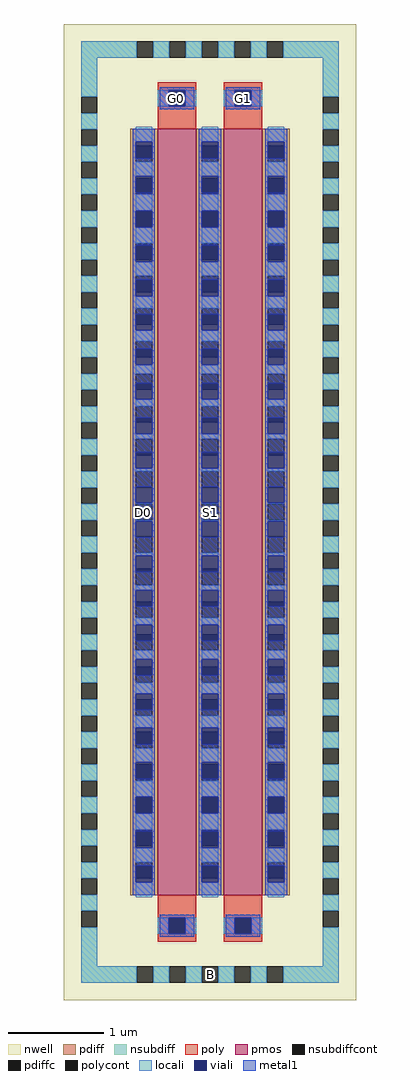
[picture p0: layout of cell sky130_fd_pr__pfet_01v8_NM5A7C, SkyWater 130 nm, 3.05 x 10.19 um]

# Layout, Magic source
magic
tech sky130A
magscale 1 2
<< nwell >>
rect -305 -1019 305 1019
<< pmos >>
rect -109 -800 -29 800
rect 29 -800 109 800
<< pdiff >>
rect -167 765 -109 800
rect -167 731 -155 765
rect -121 731 -109 765
rect -167 697 -109 731
rect -167 663 -155 697
rect -121 663 -109 697
rect -167 629 -109 663
rect -167 595 -155 629
rect -121 595 -109 629
rect -167 561 -109 595
rect -167 527 -155 561
rect -121 527 -109 561
rect -167 493 -109 527
rect -167 459 -155 493
rect -121 459 -109 493
rect -167 425 -109 459
rect -167 391 -155 425
rect -121 391 -109 425
rect -167 357 -109 391
rect -167 323 -155 357
rect -121 323 -109 357
rect -167 289 -109 323
rect -167 255 -155 289
rect -121 255 -109 289
rect -167 221 -109 255
rect -167 187 -155 221
rect -121 187 -109 221
rect -167 153 -109 187
rect -167 119 -155 153
rect -121 119 -109 153
rect -167 85 -109 119
rect -167 51 -155 85
rect -121 51 -109 85
rect -167 17 -109 51
rect -167 -17 -155 17
rect -121 -17 -109 17
rect -167 -51 -109 -17
rect -167 -85 -155 -51
rect -121 -85 -109 -51
rect -167 -119 -109 -85
rect -167 -153 -155 -119
rect -121 -153 -109 -119
rect -167 -187 -109 -153
rect -167 -221 -155 -187
rect -121 -221 -109 -187
rect -167 -255 -109 -221
rect -167 -289 -155 -255
rect -121 -289 -109 -255
rect -167 -323 -109 -289
rect -167 -357 -155 -323
rect -121 -357 -109 -323
rect -167 -391 -109 -357
rect -167 -425 -155 -391
rect -121 -425 -109 -391
rect -167 -459 -109 -425
rect -167 -493 -155 -459
rect -121 -493 -109 -459
rect -167 -527 -109 -493
rect -167 -561 -155 -527
rect -121 -561 -109 -527
rect -167 -595 -109 -561
rect -167 -629 -155 -595
rect -121 -629 -109 -595
rect -167 -663 -109 -629
rect -167 -697 -155 -663
rect -121 -697 -109 -663
rect -167 -731 -109 -697
rect -167 -765 -155 -731
rect -121 -765 -109 -731
rect -167 -800 -109 -765
rect -29 765 29 800
rect -29 731 -17 765
rect 17 731 29 765
rect -29 697 29 731
rect -29 663 -17 697
rect 17 663 29 697
rect -29 629 29 663
rect -29 595 -17 629
rect 17 595 29 629
rect -29 561 29 595
rect -29 527 -17 561
rect 17 527 29 561
rect -29 493 29 527
rect -29 459 -17 493
rect 17 459 29 493
rect -29 425 29 459
rect -29 391 -17 425
rect 17 391 29 425
rect -29 357 29 391
rect -29 323 -17 357
rect 17 323 29 357
rect -29 289 29 323
rect -29 255 -17 289
rect 17 255 29 289
rect -29 221 29 255
rect -29 187 -17 221
rect 17 187 29 221
rect -29 153 29 187
rect -29 119 -17 153
rect 17 119 29 153
rect -29 85 29 119
rect -29 51 -17 85
rect 17 51 29 85
rect -29 17 29 51
rect -29 -17 -17 17
rect 17 -17 29 17
rect -29 -51 29 -17
rect -29 -85 -17 -51
rect 17 -85 29 -51
rect -29 -119 29 -85
rect -29 -153 -17 -119
rect 17 -153 29 -119
rect -29 -187 29 -153
rect -29 -221 -17 -187
rect 17 -221 29 -187
rect -29 -255 29 -221
rect -29 -289 -17 -255
rect 17 -289 29 -255
rect -29 -323 29 -289
rect -29 -357 -17 -323
rect 17 -357 29 -323
rect -29 -391 29 -357
rect -29 -425 -17 -391
rect 17 -425 29 -391
rect -29 -459 29 -425
rect -29 -493 -17 -459
rect 17 -493 29 -459
rect -29 -527 29 -493
rect -29 -561 -17 -527
rect 17 -561 29 -527
rect -29 -595 29 -561
rect -29 -629 -17 -595
rect 17 -629 29 -595
rect -29 -663 29 -629
rect -29 -697 -17 -663
rect 17 -697 29 -663
rect -29 -731 29 -697
rect -29 -765 -17 -731
rect 17 -765 29 -731
rect -29 -800 29 -765
rect 109 765 167 800
rect 109 731 121 765
rect 155 731 167 765
rect 109 697 167 731
rect 109 663 121 697
rect 155 663 167 697
rect 109 629 167 663
rect 109 595 121 629
rect 155 595 167 629
rect 109 561 167 595
rect 109 527 121 561
rect 155 527 167 561
rect 109 493 167 527
rect 109 459 121 493
rect 155 459 167 493
rect 109 425 167 459
rect 109 391 121 425
rect 155 391 167 425
rect 109 357 167 391
rect 109 323 121 357
rect 155 323 167 357
rect 109 289 167 323
rect 109 255 121 289
rect 155 255 167 289
rect 109 221 167 255
rect 109 187 121 221
rect 155 187 167 221
rect 109 153 167 187
rect 109 119 121 153
rect 155 119 167 153
rect 109 85 167 119
rect 109 51 121 85
rect 155 51 167 85
rect 109 17 167 51
rect 109 -17 121 17
rect 155 -17 167 17
rect 109 -51 167 -17
rect 109 -85 121 -51
rect 155 -85 167 -51
rect 109 -119 167 -85
rect 109 -153 121 -119
rect 155 -153 167 -119
rect 109 -187 167 -153
rect 109 -221 121 -187
rect 155 -221 167 -187
rect 109 -255 167 -221
rect 109 -289 121 -255
rect 155 -289 167 -255
rect 109 -323 167 -289
rect 109 -357 121 -323
rect 155 -357 167 -323
rect 109 -391 167 -357
rect 109 -425 121 -391
rect 155 -425 167 -391
rect 109 -459 167 -425
rect 109 -493 121 -459
rect 155 -493 167 -459
rect 109 -527 167 -493
rect 109 -561 121 -527
rect 155 -561 167 -527
rect 109 -595 167 -561
rect 109 -629 121 -595
rect 155 -629 167 -595
rect 109 -663 167 -629
rect 109 -697 121 -663
rect 155 -697 167 -663
rect 109 -731 167 -697
rect 109 -765 121 -731
rect 155 -765 167 -731
rect 109 -800 167 -765
<< pdiffc >>
rect -155 731 -121 765
rect -155 663 -121 697
rect -155 595 -121 629
rect -155 527 -121 561
rect -155 459 -121 493
rect -155 391 -121 425
rect -155 323 -121 357
rect -155 255 -121 289
rect -155 187 -121 221
rect -155 119 -121 153
rect -155 51 -121 85
rect -155 -17 -121 17
rect -155 -85 -121 -51
rect -155 -153 -121 -119
rect -155 -221 -121 -187
rect -155 -289 -121 -255
rect -155 -357 -121 -323
rect -155 -425 -121 -391
rect -155 -493 -121 -459
rect -155 -561 -121 -527
rect -155 -629 -121 -595
rect -155 -697 -121 -663
rect -155 -765 -121 -731
rect -17 731 17 765
rect -17 663 17 697
rect -17 595 17 629
rect -17 527 17 561
rect -17 459 17 493
rect -17 391 17 425
rect -17 323 17 357
rect -17 255 17 289
rect -17 187 17 221
rect -17 119 17 153
rect -17 51 17 85
rect -17 -17 17 17
rect -17 -85 17 -51
rect -17 -153 17 -119
rect -17 -221 17 -187
rect -17 -289 17 -255
rect -17 -357 17 -323
rect -17 -425 17 -391
rect -17 -493 17 -459
rect -17 -561 17 -527
rect -17 -629 17 -595
rect -17 -697 17 -663
rect -17 -765 17 -731
rect 121 731 155 765
rect 121 663 155 697
rect 121 595 155 629
rect 121 527 155 561
rect 121 459 155 493
rect 121 391 155 425
rect 121 323 155 357
rect 121 255 155 289
rect 121 187 155 221
rect 121 119 155 153
rect 121 51 155 85
rect 121 -17 155 17
rect 121 -85 155 -51
rect 121 -153 155 -119
rect 121 -221 155 -187
rect 121 -289 155 -255
rect 121 -357 155 -323
rect 121 -425 155 -391
rect 121 -493 155 -459
rect 121 -561 155 -527
rect 121 -629 155 -595
rect 121 -697 155 -663
rect 121 -765 155 -731
<< nsubdiff >>
rect -269 949 -153 983
rect -119 949 -85 983
rect -51 949 -17 983
rect 17 949 51 983
rect 85 949 119 983
rect 153 949 269 983
rect -269 867 -235 949
rect -269 799 -235 833
rect 235 867 269 949
rect -269 731 -235 765
rect -269 663 -235 697
rect -269 595 -235 629
rect -269 527 -235 561
rect -269 459 -235 493
rect -269 391 -235 425
rect -269 323 -235 357
rect -269 255 -235 289
rect -269 187 -235 221
rect -269 119 -235 153
rect -269 51 -235 85
rect -269 -17 -235 17
rect -269 -85 -235 -51
rect -269 -153 -235 -119
rect -269 -221 -235 -187
rect -269 -289 -235 -255
rect -269 -357 -235 -323
rect -269 -425 -235 -391
rect -269 -493 -235 -459
rect -269 -561 -235 -527
rect -269 -629 -235 -595
rect -269 -697 -235 -663
rect -269 -765 -235 -731
rect -269 -833 -235 -799
rect 235 799 269 833
rect 235 731 269 765
rect 235 663 269 697
rect 235 595 269 629
rect 235 527 269 561
rect 235 459 269 493
rect 235 391 269 425
rect 235 323 269 357
rect 235 255 269 289
rect 235 187 269 221
rect 235 119 269 153
rect 235 51 269 85
rect 235 -17 269 17
rect 235 -85 269 -51
rect 235 -153 269 -119
rect 235 -221 269 -187
rect 235 -289 269 -255
rect 235 -357 269 -323
rect 235 -425 269 -391
rect 235 -493 269 -459
rect 235 -561 269 -527
rect 235 -629 269 -595
rect 235 -697 269 -663
rect 235 -765 269 -731
rect -269 -949 -235 -867
rect 235 -833 269 -799
rect 235 -949 269 -867
rect -269 -983 -153 -949
rect -119 -983 -85 -949
rect -51 -983 -17 -949
rect 17 -983 51 -949
rect 85 -983 119 -949
rect 153 -983 269 -949
<< nsubdiffcont >>
rect -153 949 -119 983
rect -85 949 -51 983
rect -17 949 17 983
rect 51 949 85 983
rect 119 949 153 983
rect -269 833 -235 867
rect 235 833 269 867
rect -269 765 -235 799
rect -269 697 -235 731
rect -269 629 -235 663
rect -269 561 -235 595
rect -269 493 -235 527
rect -269 425 -235 459
rect -269 357 -235 391
rect -269 289 -235 323
rect -269 221 -235 255
rect -269 153 -235 187
rect -269 85 -235 119
rect -269 17 -235 51
rect -269 -51 -235 -17
rect -269 -119 -235 -85
rect -269 -187 -235 -153
rect -269 -255 -235 -221
rect -269 -323 -235 -289
rect -269 -391 -235 -357
rect -269 -459 -235 -425
rect -269 -527 -235 -493
rect -269 -595 -235 -561
rect -269 -663 -235 -629
rect -269 -731 -235 -697
rect -269 -799 -235 -765
rect 235 765 269 799
rect 235 697 269 731
rect 235 629 269 663
rect 235 561 269 595
rect 235 493 269 527
rect 235 425 269 459
rect 235 357 269 391
rect 235 289 269 323
rect 235 221 269 255
rect 235 153 269 187
rect 235 85 269 119
rect 235 17 269 51
rect 235 -51 269 -17
rect 235 -119 269 -85
rect 235 -187 269 -153
rect 235 -255 269 -221
rect 235 -323 269 -289
rect 235 -391 269 -357
rect 235 -459 269 -425
rect 235 -527 269 -493
rect 235 -595 269 -561
rect 235 -663 269 -629
rect 235 -731 269 -697
rect 235 -799 269 -765
rect -269 -867 -235 -833
rect 235 -867 269 -833
rect -153 -983 -119 -949
rect -85 -983 -51 -949
rect -17 -983 17 -949
rect 51 -983 85 -949
rect 119 -983 153 -949
<< poly >>
rect -109 881 -29 897
rect -109 847 -86 881
rect -52 847 -29 881
rect -109 800 -29 847
rect 29 881 109 897
rect 29 847 52 881
rect 86 847 109 881
rect 29 800 109 847
rect -109 -847 -29 -800
rect -109 -881 -86 -847
rect -52 -881 -29 -847
rect -109 -897 -29 -881
rect 29 -847 109 -800
rect 29 -881 52 -847
rect 86 -881 109 -847
rect 29 -897 109 -881
<< polycont >>
rect -86 847 -52 881
rect 52 847 86 881
rect -86 -881 -52 -847
rect 52 -881 86 -847
<< locali >>
rect -269 949 -153 983
rect -119 949 -85 983
rect -51 949 -17 983
rect 17 949 51 983
rect 85 949 119 983
rect 153 949 269 983
rect -269 867 -235 949
rect -109 847 -86 881
rect -52 847 -29 881
rect 29 847 52 881
rect 86 847 109 881
rect 235 867 269 949
rect -269 799 -235 833
rect -269 731 -235 765
rect -269 663 -235 697
rect -269 595 -235 629
rect -269 527 -235 561
rect -269 459 -235 493
rect -269 391 -235 425
rect -269 323 -235 357
rect -269 255 -235 289
rect -269 187 -235 221
rect -269 119 -235 153
rect -269 51 -235 85
rect -269 -17 -235 17
rect -269 -85 -235 -51
rect -269 -153 -235 -119
rect -269 -221 -235 -187
rect -269 -289 -235 -255
rect -269 -357 -235 -323
rect -269 -425 -235 -391
rect -269 -493 -235 -459
rect -269 -561 -235 -527
rect -269 -629 -235 -595
rect -269 -697 -235 -663
rect -269 -765 -235 -731
rect -269 -833 -235 -799
rect -155 773 -121 804
rect -155 701 -121 731
rect -155 629 -121 663
rect -155 561 -121 595
rect -155 493 -121 523
rect -155 425 -121 451
rect -155 357 -121 379
rect -155 289 -121 307
rect -155 221 -121 235
rect -155 153 -121 163
rect -155 85 -121 91
rect -155 17 -121 19
rect -155 -19 -121 -17
rect -155 -91 -121 -85
rect -155 -163 -121 -153
rect -155 -235 -121 -221
rect -155 -307 -121 -289
rect -155 -379 -121 -357
rect -155 -451 -121 -425
rect -155 -523 -121 -493
rect -155 -595 -121 -561
rect -155 -663 -121 -629
rect -155 -731 -121 -701
rect -155 -804 -121 -773
rect -17 773 17 804
rect -17 701 17 731
rect -17 629 17 663
rect -17 561 17 595
rect -17 493 17 523
rect -17 425 17 451
rect -17 357 17 379
rect -17 289 17 307
rect -17 221 17 235
rect -17 153 17 163
rect -17 85 17 91
rect -17 17 17 19
rect -17 -19 17 -17
rect -17 -91 17 -85
rect -17 -163 17 -153
rect -17 -235 17 -221
rect -17 -307 17 -289
rect -17 -379 17 -357
rect -17 -451 17 -425
rect -17 -523 17 -493
rect -17 -595 17 -561
rect -17 -663 17 -629
rect -17 -731 17 -701
rect -17 -804 17 -773
rect 121 773 155 804
rect 121 701 155 731
rect 121 629 155 663
rect 121 561 155 595
rect 121 493 155 523
rect 121 425 155 451
rect 121 357 155 379
rect 121 289 155 307
rect 121 221 155 235
rect 121 153 155 163
rect 121 85 155 91
rect 121 17 155 19
rect 121 -19 155 -17
rect 121 -91 155 -85
rect 121 -163 155 -153
rect 121 -235 155 -221
rect 121 -307 155 -289
rect 121 -379 155 -357
rect 121 -451 155 -425
rect 121 -523 155 -493
rect 121 -595 155 -561
rect 121 -663 155 -629
rect 121 -731 155 -701
rect 121 -804 155 -773
rect 235 799 269 833
rect 235 731 269 765
rect 235 663 269 697
rect 235 595 269 629
rect 235 527 269 561
rect 235 459 269 493
rect 235 391 269 425
rect 235 323 269 357
rect 235 255 269 289
rect 235 187 269 221
rect 235 119 269 153
rect 235 51 269 85
rect 235 -17 269 17
rect 235 -85 269 -51
rect 235 -153 269 -119
rect 235 -221 269 -187
rect 235 -289 269 -255
rect 235 -357 269 -323
rect 235 -425 269 -391
rect 235 -493 269 -459
rect 235 -561 269 -527
rect 235 -629 269 -595
rect 235 -697 269 -663
rect 235 -765 269 -731
rect 235 -833 269 -799
rect -269 -949 -235 -867
rect -109 -881 -86 -847
rect -52 -881 -29 -847
rect 29 -881 52 -847
rect 86 -881 109 -847
rect 235 -949 269 -867
rect -269 -983 -153 -949
rect -119 -983 -85 -949
rect -51 -983 -17 -949
rect 17 -983 51 -949
rect 85 -983 119 -949
rect 153 -983 269 -949
<< viali >>
rect -86 847 -52 881
rect 52 847 86 881
rect -155 765 -121 773
rect -155 739 -121 765
rect -155 697 -121 701
rect -155 667 -121 697
rect -155 595 -121 629
rect -155 527 -121 557
rect -155 523 -121 527
rect -155 459 -121 485
rect -155 451 -121 459
rect -155 391 -121 413
rect -155 379 -121 391
rect -155 323 -121 341
rect -155 307 -121 323
rect -155 255 -121 269
rect -155 235 -121 255
rect -155 187 -121 197
rect -155 163 -121 187
rect -155 119 -121 125
rect -155 91 -121 119
rect -155 51 -121 53
rect -155 19 -121 51
rect -155 -51 -121 -19
rect -155 -53 -121 -51
rect -155 -119 -121 -91
rect -155 -125 -121 -119
rect -155 -187 -121 -163
rect -155 -197 -121 -187
rect -155 -255 -121 -235
rect -155 -269 -121 -255
rect -155 -323 -121 -307
rect -155 -341 -121 -323
rect -155 -391 -121 -379
rect -155 -413 -121 -391
rect -155 -459 -121 -451
rect -155 -485 -121 -459
rect -155 -527 -121 -523
rect -155 -557 -121 -527
rect -155 -629 -121 -595
rect -155 -697 -121 -667
rect -155 -701 -121 -697
rect -155 -765 -121 -739
rect -155 -773 -121 -765
rect -17 765 17 773
rect -17 739 17 765
rect -17 697 17 701
rect -17 667 17 697
rect -17 595 17 629
rect -17 527 17 557
rect -17 523 17 527
rect -17 459 17 485
rect -17 451 17 459
rect -17 391 17 413
rect -17 379 17 391
rect -17 323 17 341
rect -17 307 17 323
rect -17 255 17 269
rect -17 235 17 255
rect -17 187 17 197
rect -17 163 17 187
rect -17 119 17 125
rect -17 91 17 119
rect -17 51 17 53
rect -17 19 17 51
rect -17 -51 17 -19
rect -17 -53 17 -51
rect -17 -119 17 -91
rect -17 -125 17 -119
rect -17 -187 17 -163
rect -17 -197 17 -187
rect -17 -255 17 -235
rect -17 -269 17 -255
rect -17 -323 17 -307
rect -17 -341 17 -323
rect -17 -391 17 -379
rect -17 -413 17 -391
rect -17 -459 17 -451
rect -17 -485 17 -459
rect -17 -527 17 -523
rect -17 -557 17 -527
rect -17 -629 17 -595
rect -17 -697 17 -667
rect -17 -701 17 -697
rect -17 -765 17 -739
rect -17 -773 17 -765
rect 121 765 155 773
rect 121 739 155 765
rect 121 697 155 701
rect 121 667 155 697
rect 121 595 155 629
rect 121 527 155 557
rect 121 523 155 527
rect 121 459 155 485
rect 121 451 155 459
rect 121 391 155 413
rect 121 379 155 391
rect 121 323 155 341
rect 121 307 155 323
rect 121 255 155 269
rect 121 235 155 255
rect 121 187 155 197
rect 121 163 155 187
rect 121 119 155 125
rect 121 91 155 119
rect 121 51 155 53
rect 121 19 155 51
rect 121 -51 155 -19
rect 121 -53 155 -51
rect 121 -119 155 -91
rect 121 -125 155 -119
rect 121 -187 155 -163
rect 121 -197 155 -187
rect 121 -255 155 -235
rect 121 -269 155 -255
rect 121 -323 155 -307
rect 121 -341 155 -323
rect 121 -391 155 -379
rect 121 -413 155 -391
rect 121 -459 155 -451
rect 121 -485 155 -459
rect 121 -527 155 -523
rect 121 -557 155 -527
rect 121 -629 155 -595
rect 121 -697 155 -667
rect 121 -701 155 -697
rect 121 -765 155 -739
rect 121 -773 155 -765
rect -86 -881 -52 -847
rect 52 -881 86 -847
<< metal1 >>
rect -105 881 -33 887
rect -105 847 -86 881
rect -52 847 -33 881
rect -105 841 -33 847
rect 33 881 105 887
rect 33 847 52 881
rect 86 847 105 881
rect 33 841 105 847
rect -161 773 -115 800
rect -161 739 -155 773
rect -121 739 -115 773
rect -161 701 -115 739
rect -161 667 -155 701
rect -121 667 -115 701
rect -161 629 -115 667
rect -161 595 -155 629
rect -121 595 -115 629
rect -161 557 -115 595
rect -161 523 -155 557
rect -121 523 -115 557
rect -161 485 -115 523
rect -161 451 -155 485
rect -121 451 -115 485
rect -161 413 -115 451
rect -161 379 -155 413
rect -121 379 -115 413
rect -161 341 -115 379
rect -161 307 -155 341
rect -121 307 -115 341
rect -161 269 -115 307
rect -161 235 -155 269
rect -121 235 -115 269
rect -161 197 -115 235
rect -161 163 -155 197
rect -121 163 -115 197
rect -161 125 -115 163
rect -161 91 -155 125
rect -121 91 -115 125
rect -161 53 -115 91
rect -161 19 -155 53
rect -121 19 -115 53
rect -161 -19 -115 19
rect -161 -53 -155 -19
rect -121 -53 -115 -19
rect -161 -91 -115 -53
rect -161 -125 -155 -91
rect -121 -125 -115 -91
rect -161 -163 -115 -125
rect -161 -197 -155 -163
rect -121 -197 -115 -163
rect -161 -235 -115 -197
rect -161 -269 -155 -235
rect -121 -269 -115 -235
rect -161 -307 -115 -269
rect -161 -341 -155 -307
rect -121 -341 -115 -307
rect -161 -379 -115 -341
rect -161 -413 -155 -379
rect -121 -413 -115 -379
rect -161 -451 -115 -413
rect -161 -485 -155 -451
rect -121 -485 -115 -451
rect -161 -523 -115 -485
rect -161 -557 -155 -523
rect -121 -557 -115 -523
rect -161 -595 -115 -557
rect -161 -629 -155 -595
rect -121 -629 -115 -595
rect -161 -667 -115 -629
rect -161 -701 -155 -667
rect -121 -701 -115 -667
rect -161 -739 -115 -701
rect -161 -773 -155 -739
rect -121 -773 -115 -739
rect -161 -800 -115 -773
rect -23 773 23 800
rect -23 739 -17 773
rect 17 739 23 773
rect -23 701 23 739
rect -23 667 -17 701
rect 17 667 23 701
rect -23 629 23 667
rect -23 595 -17 629
rect 17 595 23 629
rect -23 557 23 595
rect -23 523 -17 557
rect 17 523 23 557
rect -23 485 23 523
rect -23 451 -17 485
rect 17 451 23 485
rect -23 413 23 451
rect -23 379 -17 413
rect 17 379 23 413
rect -23 341 23 379
rect -23 307 -17 341
rect 17 307 23 341
rect -23 269 23 307
rect -23 235 -17 269
rect 17 235 23 269
rect -23 197 23 235
rect -23 163 -17 197
rect 17 163 23 197
rect -23 125 23 163
rect -23 91 -17 125
rect 17 91 23 125
rect -23 53 23 91
rect -23 19 -17 53
rect 17 19 23 53
rect -23 -19 23 19
rect -23 -53 -17 -19
rect 17 -53 23 -19
rect -23 -91 23 -53
rect -23 -125 -17 -91
rect 17 -125 23 -91
rect -23 -163 23 -125
rect -23 -197 -17 -163
rect 17 -197 23 -163
rect -23 -235 23 -197
rect -23 -269 -17 -235
rect 17 -269 23 -235
rect -23 -307 23 -269
rect -23 -341 -17 -307
rect 17 -341 23 -307
rect -23 -379 23 -341
rect -23 -413 -17 -379
rect 17 -413 23 -379
rect -23 -451 23 -413
rect -23 -485 -17 -451
rect 17 -485 23 -451
rect -23 -523 23 -485
rect -23 -557 -17 -523
rect 17 -557 23 -523
rect -23 -595 23 -557
rect -23 -629 -17 -595
rect 17 -629 23 -595
rect -23 -667 23 -629
rect -23 -701 -17 -667
rect 17 -701 23 -667
rect -23 -739 23 -701
rect -23 -773 -17 -739
rect 17 -773 23 -739
rect -23 -800 23 -773
rect 115 773 161 800
rect 115 739 121 773
rect 155 739 161 773
rect 115 701 161 739
rect 115 667 121 701
rect 155 667 161 701
rect 115 629 161 667
rect 115 595 121 629
rect 155 595 161 629
rect 115 557 161 595
rect 115 523 121 557
rect 155 523 161 557
rect 115 485 161 523
rect 115 451 121 485
rect 155 451 161 485
rect 115 413 161 451
rect 115 379 121 413
rect 155 379 161 413
rect 115 341 161 379
rect 115 307 121 341
rect 155 307 161 341
rect 115 269 161 307
rect 115 235 121 269
rect 155 235 161 269
rect 115 197 161 235
rect 115 163 121 197
rect 155 163 161 197
rect 115 125 161 163
rect 115 91 121 125
rect 155 91 161 125
rect 115 53 161 91
rect 115 19 121 53
rect 155 19 161 53
rect 115 -19 161 19
rect 115 -53 121 -19
rect 155 -53 161 -19
rect 115 -91 161 -53
rect 115 -125 121 -91
rect 155 -125 161 -91
rect 115 -163 161 -125
rect 115 -197 121 -163
rect 155 -197 161 -163
rect 115 -235 161 -197
rect 115 -269 121 -235
rect 155 -269 161 -235
rect 115 -307 161 -269
rect 115 -341 121 -307
rect 155 -341 161 -307
rect 115 -379 161 -341
rect 115 -413 121 -379
rect 155 -413 161 -379
rect 115 -451 161 -413
rect 115 -485 121 -451
rect 155 -485 161 -451
rect 115 -523 161 -485
rect 115 -557 121 -523
rect 155 -557 161 -523
rect 115 -595 161 -557
rect 115 -629 121 -595
rect 155 -629 161 -595
rect 115 -667 161 -629
rect 115 -701 121 -667
rect 155 -701 161 -667
rect 115 -739 161 -701
rect 115 -773 121 -739
rect 155 -773 161 -739
rect 115 -800 161 -773
rect -105 -847 -33 -841
rect -105 -881 -86 -847
rect -52 -881 -33 -847
rect -105 -887 -33 -881
rect 33 -847 105 -841
rect 33 -881 52 -847
rect 86 -881 105 -847
rect 33 -887 105 -881
<< labels >>
rlabel locali s 0 -966 0 -966 4 B
rlabel locali s -138 0 -138 0 4 D0
rlabel locali s -69 864 -69 864 4 G0
rlabel locali s 0 0 0 0 4 S1
rlabel locali s 69 864 69 864 4 G1
<< properties >>
string FIXED_BBOX -252 -966 252 966
<< end >>
